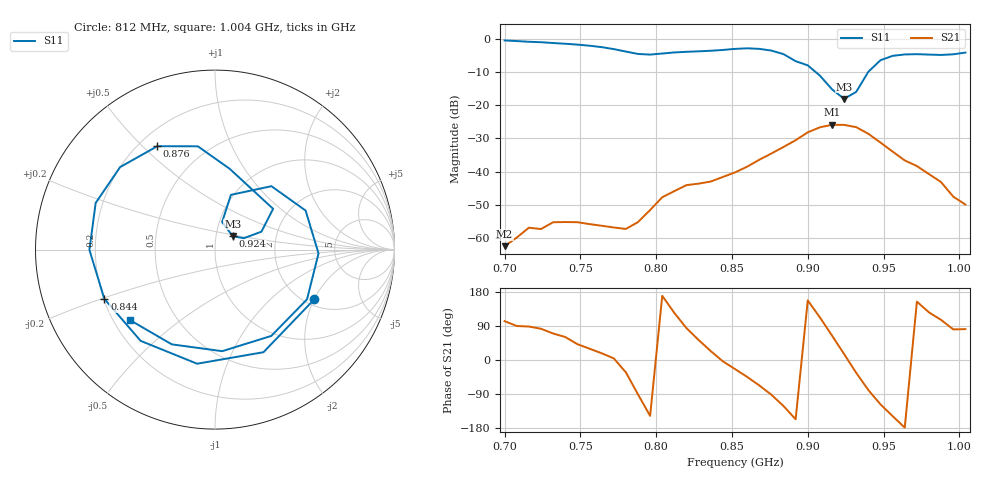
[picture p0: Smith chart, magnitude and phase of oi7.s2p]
# Hz S RI R 50
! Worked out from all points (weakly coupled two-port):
!   39 points, 700 MHz to 1.004 GHz, reference 50 ohm
!   highest |S21| = -25.93 dB at 916 MHz (marker M1); lowest = -62.4 dB at 700 MHz (marker M2)
!   lowest |S11| = -18.1 dB at 924 MHz (marker M3), VSWR 1.28, Z = 60.2 + j9.2 ohm
!   |S11| at or under -10 dB: 905 MHz to 940 MHz (34.9 MHz wide, 3.78 % of centre)
!   S12 and S22 are empty: the file has one direction only
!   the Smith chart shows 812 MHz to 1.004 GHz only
!   S11 on the Smith chart (normalised r, x): 812 MHz: 2.23, -2.01; 844 MHz: 0.20, -0.20; 876 MHz: 0.27, +0.55; 924 MHz: 1.20, +0.18; 1.004 GHz: 0.27, -0.34
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7e8  0.7545 0.5556  -0.000164 0.000736  0 0  0 0
7.24e8  0.8484 -0.2408  0.000179 0.00135  0 0  0 0
7.4e8  0.4587 -0.699  0.00085 0.00152  0 0  0 0
7.56e8  -0.1883 -0.7583  0.0014 0.000807  0 0  0 0
7.72e8  -0.6642 -0.2037  0.00144 0.000109  0 0  0 0
7.8e8  -0.5989 0.2197  0.00116 -0.000736  0 0  0 0
7.88e8  -0.2527 0.5302  -2.39e-05 -0.00174  0 0  0 0
7.96e8  0.2307 0.5259  -0.00222 -0.00142  0 0  0 0
8.04e8  0.5678 0.1805  -0.00403 0.000757  0 0  0 0
8.12e8  0.5532 -0.2773  -0.00285 0.00421  0 0  0 0
8.28e8  -0.0996 -0.6358  0.00398 0.00524  0 0  0 0
8.44e8  -0.6165 -0.2744  0.00828 -0.000513  0 0  0 0
8.52e8  -0.6997 -0.0015  0.00887 -0.00393  0 0  0 0
8.76e8  -0.3216 0.5759  -0.000528 -0.0187  0 0  0 0
9e8  0.3237 0.2272  -0.0359 0.0151  0 0  0 0
9.08e8  0.2589 0.1  -0.0176 0.0428  0 0  0 0
9.16e8  0.1606 0.0633  0.0218 0.0456  0 0  0 0
9.24e8  0.0985 0.0753  0.0485 0.0135  0 0  0 0
9.4e8  0.0887 0.305  0.00678 -0.0363  0 0  0 0
9.56e8  0.5049 0.2175  -0.0169 -0.0106  0 0  0 0
9.8e8  0.3135 -0.481  -0.00533 0.00744  0 0  0 0
1.004e9  -0.4752 -0.3918  0.000472 0.00315  0 0  0 0
